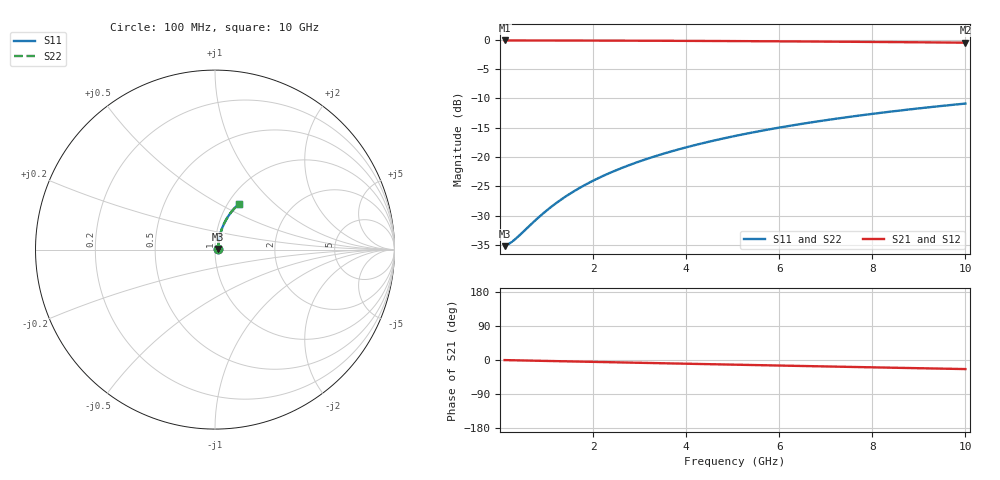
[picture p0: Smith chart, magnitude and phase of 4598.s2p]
# Hz S RI R 50.00
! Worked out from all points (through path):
!   100 points, 100 MHz to 10 GHz, reference 50 ohm
!   highest |S21| = -0.15 dB at 100 MHz (marker M1); lowest = -0.5 dB at 10 GHz (marker M2)
!   group delay of S21, straight-line fit = 6.67 ps
!   lowest |S11| = -35.2 dB at 100 MHz (marker M3), VSWR 1.04, Z = 51.7 + j0.305 ohm
!   |S11| at or under -10 dB: start of sweep to end of sweep
!   |S22| runs from -35.2 to -10.9 dB; largest |S21 - S12| = 0
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1e8  0.0171 0.00294  0.9829 -0.00423  0.9829 -0.00423  0.0171 0.00294
2e8  0.0173 0.00588  0.9827 -0.00845  0.9827 -0.00845  0.0173 0.00588
3e8  0.0174 0.00882  0.9826 -0.0127  0.9826 -0.0127  0.0174 0.00882
4e8  0.0176 0.0118  0.9824 -0.0169  0.9824 -0.0169  0.0176 0.0118
8e8  0.0184 0.0235  0.9816 -0.0338  0.9816 -0.0338  0.0184 0.0235
1.1e9  0.0192 0.0323  0.9807 -0.0464  0.9807 -0.0464  0.0192 0.0323
1.4e9  0.0202 0.041  0.9796 -0.059  0.9796 -0.059  0.0202 0.041
1.6e9  0.021 0.0468  0.9787 -0.0673  0.9787 -0.0673  0.021 0.0468
1.8e9  0.0219 0.0526  0.9778 -0.0757  0.9778 -0.0757  0.0219 0.0526
2.1e9  0.0235 0.0612  0.9761 -0.0882  0.9761 -0.0882  0.0235 0.0612
2.5e9  0.0258 0.0727  0.9736 -0.1048  0.9736 -0.1048  0.0258 0.0727
2.9e9  0.0286 0.084  0.9707 -0.1213  0.9707 -0.1213  0.0286 0.084
3.4e9  0.0326 0.098  0.9664 -0.1417  0.9664 -0.1417  0.0326 0.098
3.8e9  0.0362 0.1091  0.9626 -0.1579  0.9626 -0.1579  0.0362 0.1091
4.2e9  0.0401 0.12  0.9584 -0.1739  0.9584 -0.1739  0.0401 0.12
4.6e9  0.0444 0.1307  0.9538 -0.1898  0.9538 -0.1898  0.0444 0.1307
5.1e9  0.0503 0.1438  0.9475 -0.2094  0.9475 -0.2094  0.0503 0.1438
5.9e9  0.0607 0.1641  0.9363 -0.24  0.9363 -0.24  0.0607 0.1641
6.7e9  0.0724 0.1836  0.9238 -0.2698  0.9238 -0.2698  0.0724 0.1836
7.5e9  0.0852 0.2021  0.91 -0.2987  0.91 -0.2987  0.0852 0.2021
8.4e9  0.1009 0.2216  0.8931 -0.3299  0.8931 -0.3299  0.1009 0.2216
1e10  0.1316 0.2528  0.8598 -0.3819  0.8598 -0.3819  0.1316 0.2528
